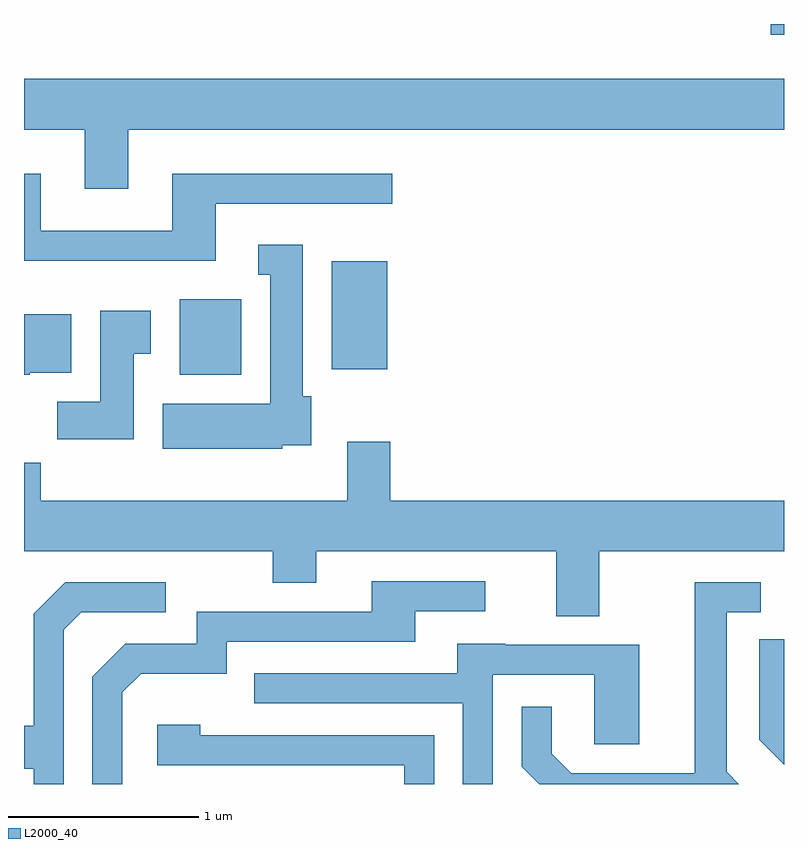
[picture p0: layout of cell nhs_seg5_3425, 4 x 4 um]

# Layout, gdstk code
import gdstk
lib = gdstk.Library(unit=1e-6, precision=1e-09)
def R(c, l, rs):  # rectangles x0, y0, x1, y1
    for r in rs: c.add(gdstk.rectangle(r[:2], r[2:], *l))
def P(c, l, *ps):  # polygons
    for p in ps: c.add(gdstk.Polygon(p, *l))
L2000_40 = (2000, 40)

nhs_seg5_3425 = lib.new_cell('nhs_seg5_3425')
R(nhs_seg5_3425, L2000_40, [(288.431,1402.226,288.754,1402.624), (289.231,1402.256,289.524,1402.824), (291.541,1404.016,291.611,1404.072)])
P(nhs_seg5_3425, L2000_40, [(288.159,1403.516),(291.611,1403.516),(291.611,1403.784),(287.611,1403.784),(287.611,1403.516),(287.931,1403.516),(287.931,1403.206),(288.159,1403.206)],
  [(288.619,1403.126),(289.548,1403.126),(289.548,1403.284),(288.391,1403.284),(288.391,1402.984),(287.699,1402.984),(287.699,1403.284),(287.611,1403.284),(287.611,1402.826),(288.619,1402.826)],
  [(288.969,1401.856),(289.124,1401.856),(289.124,1402.114),(289.079,1402.114),(289.079,1402.909),(288.843,1402.909),(288.843,1402.751),(288.906,1402.751),(288.906,1402.074),(288.341,1402.074),(288.341,1401.836),(288.969,1401.836)],
  [(288.189,1402.336),(288.279,1402.336),(288.279,1402.564),(288.011,1402.564),(288.011,1402.084),(287.786,1402.084),(287.786,1401.886),(288.189,1401.886)],
  [(287.64,1402.236),(287.859,1402.236),(287.859,1402.544),(287.611,1402.544),(287.611,1402.226),(287.64,1402.226)],
  [(290.639,1401.296),(291.611,1401.296),(291.611,1401.564),(289.539,1401.564),(289.539,1401.874),(289.311,1401.874),(289.311,1401.564),(287.699,1401.564),(287.699,1401.764),(287.611,1401.764),(287.611,1401.296),(288.921,1401.296),(288.921,1401.131),(289.149,1401.131),(289.149,1401.296),(290.411,1401.296),(290.411,1400.956),(290.639,1400.956)],
  [(288.129,1400.554),(288.227,1400.651),(288.679,1400.651),(288.679,1400.821),(289.669,1400.821),(289.669,1400.981),(290.038,1400.981),(290.038,1401.139),(289.441,1401.139),(289.441,1400.979),(288.521,1400.979),(288.521,1400.809),(288.144,1400.809),(287.971,1400.637),(287.971,1400.072),(288.129,1400.072)],
  [(291.309,1400.137),(291.309,1400.976),(291.488,1400.976),(291.488,1401.134),(291.141,1401.134),(291.141,1400.129),(290.492,1400.129),(290.389,1400.232),(290.389,1400.478),(290.231,1400.478),(290.231,1400.164),(290.323,1400.072),(291.374,1400.072)],
  [(287.819,1400.884),(287.912,1400.976),(288.358,1400.976),(288.358,1401.134),(287.829,1401.134),(287.661,1400.967),(287.661,1400.379),(287.611,1400.379),(287.611,1400.151),(287.661,1400.151),(287.661,1400.072),(287.819,1400.072)],
  [(291.611,1400.833),(291.481,1400.833),(291.481,1400.304),(291.611,1400.174)],
  [(290.079,1400.646),(290.611,1400.646),(290.611,1400.281),(290.849,1400.281),(290.849,1400.804),(290.145,1400.804),(290.145,1400.809),(289.891,1400.809),(289.891,1400.654),(288.823,1400.654),(288.823,1400.496),(289.921,1400.496),(289.921,1400.072),(290.079,1400.072)],
  [(289.769,1400.329),(288.539,1400.329),(288.539,1400.384),(288.311,1400.384),(288.311,1400.171),(289.611,1400.171),(289.611,1400.072),(289.769,1400.072)])

lib.write_gds('nhs_seg5_3425.gds')
